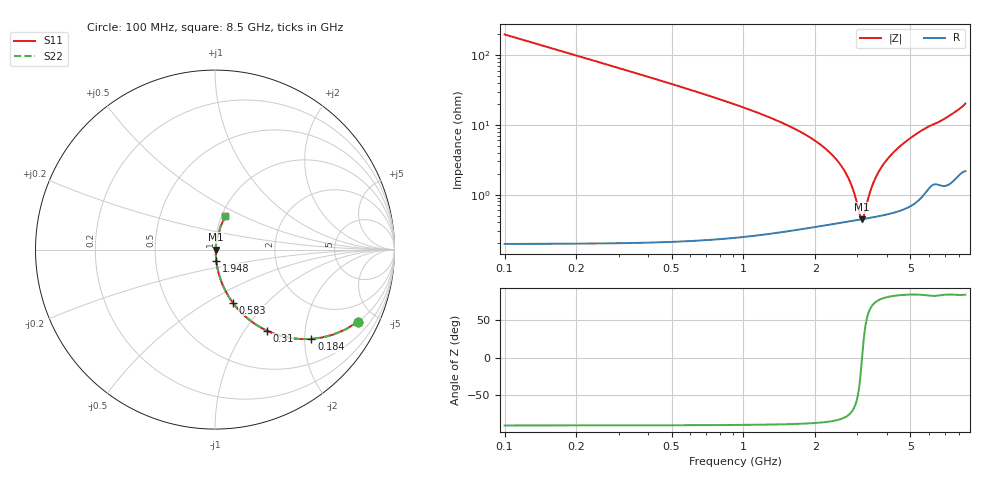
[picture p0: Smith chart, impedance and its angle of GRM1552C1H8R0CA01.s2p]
!Murata Part Number: GRM1552C1H8R0CA01
!These Parameters are Measured in Series Mode Connection
!Data Generated on Mar 30, 2021
!  o--ll--o
!Port1  Port2
!  o------o
!Operation Temp=25[degC], DC Bias Voltage=0[V]
!Freq. Start=100[MHz] Stop=9[GHz] 401[Steps]
# Hz S RI R 50
!Freq.(Hz) S11(Real) S11(Imag) S21(Real) S21(Imag) S12(Real) S12(Imag) S22(Real) S22(Imag)
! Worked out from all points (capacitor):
!   401 points, 100 MHz to 8.5 GHz, reference 50 ohm
!   read as one part in series: C = 8 pF near 142 MHz
!   lowest |Z| = 445 mohm at 3.145 GHz (marker M1)
!   series resonance near 3.139 GHz, so ESL is about 320 pH
!   S11 on the Smith chart (normalised r, x): 100 MHz: 1.00, -3.97; 184 MHz: 1.00, -2.15; 310 MHz: 1.00, -1.27; 583 MHz: 1.00, -0.66; 1.948 GHz: 1.01, -0.13; 8.5 GHz: 1.04, +0.40
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1e8  0.7977 -0.4012  0.2023 0.4012  0.2023 0.4012  0.7977 -0.4012
1.84e8  0.5371 -0.4977  0.4629 0.4977  0.4629 0.4977  0.5371 -0.4977
3.1e8  0.2882 -0.4513  0.7118 0.4513  0.7118 0.4513  0.2882 -0.4513
4.36e8  0.1679 -0.3714  0.8321 0.3714  0.8321 0.3714  0.1679 -0.3714
5.83e8  0.0994 -0.2959  0.9006 0.2959  0.9006 0.2959  0.0994 -0.2959
9.61e8  0.0361 -0.1801  0.9639 0.1801  0.9639 0.1801  0.0361 -0.1801
1.507e9  0.013 -0.0997  0.987 0.0997  0.987 0.0997  0.013 -0.0997
1.948e9  0.00725 -0.062  0.9928 0.062  0.9928 0.062  0.00725 -0.062
2.557e9  0.00461 -0.026  0.9954 0.026  0.9954 0.026  0.00461 -0.026
2.746e9  0.00438 -0.0169  0.9956 0.0169  0.9956 0.0169  0.00438 -0.0169
2.914e9  0.00432 -0.00937  0.9957 0.00937  0.9957 0.00937  0.00432 -0.00937
3.082e9  0.00438 -0.0023  0.9956 0.0023  0.9956 0.0023  0.00438 -0.0023
3.145e9  0.00443 0.000262  0.9956 -0.000262  0.9956 -0.000262  0.00443 0.000262
3.208e9  0.00449 0.00277  0.9955 -0.00277  0.9955 -0.00277  0.00449 0.00277
3.418e9  0.00477 0.0108  0.9952 -0.0108  0.9952 -0.0108  0.00477 0.0108
3.607e9  0.00514 0.0178  0.9949 -0.0178  0.9949 -0.0178  0.00514 0.0178
3.901e9  0.00588 0.028  0.9941 -0.028  0.9941 -0.028  0.00588 0.028
4.3e9  0.00724 0.0412  0.9928 -0.0412  0.9928 -0.0412  0.00724 0.0412
4.909e9  0.0102 0.0605  0.9898 -0.0605  0.9898 -0.0605  0.0102 0.0605
5.707e9  0.0172 0.0846  0.9828 -0.0846  0.9828 -0.0846  0.0172 0.0846
7.114e9  0.0289 0.1229  0.9711 -0.1229  0.9711 -0.1229  0.0289 0.1229
8.5e9  0.058 0.1859  0.942 -0.1859  0.942 -0.1859  0.058 0.1859
